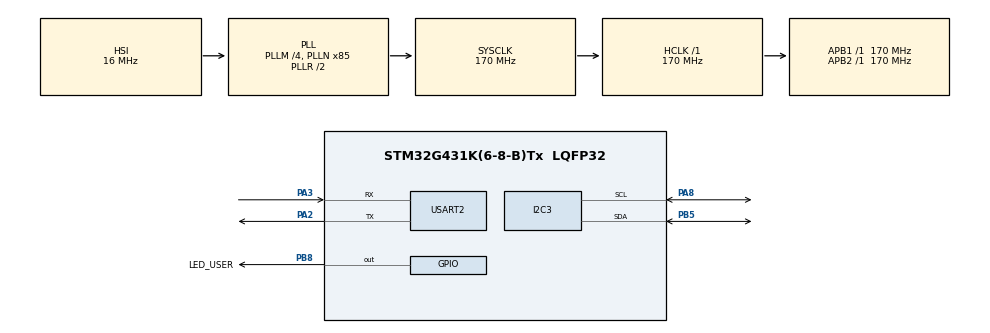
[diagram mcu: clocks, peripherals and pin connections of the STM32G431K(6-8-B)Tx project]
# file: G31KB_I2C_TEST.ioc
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I2C3.Timing=0x40B285C2
Mcu.Family=STM32G4
Mcu.Name=STM32G431K(6-8-B)Tx
Mcu.Package=LQFP32
NVIC.PriorityGroup=NVIC_PRIORITYGROUP_4
PA2.Mode=Asynchronous
PA2.Signal=USART2_TX
PA3.Mode=Asynchronous
PA3.Signal=USART2_RX
PA8.GPIO_Pu=GPIO_PULLUP
PA8.Mode=I2C
PA8.Signal=I2C3_SCL
PB5.GPIO_Pu=GPIO_PULLUP
PB5.Mode=I2C
PB5.Signal=I2C3_SDA
PB8-BOOT0.GPIO_Label=LED_USER
PB8-BOOT0.Signal=GPIO_Output
ProjectManager.HeapSize=0x200
ProjectManager.StackSize=0x400
ProjectManager.TargetToolchain=STM32CubeIDE
RCC.ADC12Freq_Value=170000000
RCC.AHBFreq_Value=170000000
RCC.APB1Freq_Value=170000000
RCC.APB1TimFreq_Value=170000000
RCC.APB2Freq_Value=170000000
RCC.APB2TimFreq_Value=170000000
RCC.CortexFreq_Value=170000000
RCC.EXTERNAL_CLOCK_VALUE=12288000
RCC.HCLKFreq_Value=170000000
RCC.HSE_VALUE=8000000
RCC.HSI48_VALUE=48000000
RCC.HSI_VALUE=16000000
RCC.LSE_VALUE=32768
RCC.PLLM=RCC_PLLM_DIV4
RCC.PLLN=85
RCC.SYSCLKFreq_VALUE=170000000
RCC.SYSCLKSource=RCC_SYSCLKSOURCE_PLLCLK
RCC.USBFreq_Value=170000000
RCC.VCOOutputFreq_Value=340000000
USART2.VirtualMode-Asynchronous=VM_ASYNC
VP_SYS_VS_DBSignals.Mode=DisableDeadBatterySignals
board=NUCLEO-G431KB

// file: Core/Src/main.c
/* USER CODE BEGIN Header */
/**
  ******************************************************************************
  * @file           : main.c
  * @brief          : Main program body
  ******************************************************************************
  * @attention
  *
  * Copyright (c) 2026 STMicroelectronics.
  * All rights reserved.
  *
  * This software is licensed under terms that can be found in the LICENSE file
  * in the root directory of this software component.
  * If no LICENSE file comes with this software, it is provided AS-IS.
  *
  ******************************************************************************
  */
/* USER CODE END Header */
#include "main.h"

/* USER CODE BEGIN Includes */
#include <stdio.h>
/* USER CODE END Includes */

I2C_HandleTypeDef hi2c3;

UART_HandleTypeDef huart2;

/* USER CODE BEGIN PV */
#define BNO055_ADDR         (0x28 << 1) // Dirección del Akizuki (0x50)
#define REG_CHIP_ID         0x00        // Registro ID (Retorna 0xA0)
#define REG_OPR_MODE        0x3D        // Registro de modo de operación
#define REG_EULER_DATA_X    0x1A        // Inicio de registros de datos Euler

// Modos de operación del BNO055
#define MODE_CONFIG         0X00
#define MODE_NDOF           0X0C        // Modo fusión completa de 9 ejes

uint8_t bno_chip_id = 0;
HAL_StatusTypeDef bno_status;
/* USER CODE END PV */

void SystemClock_Config(void);
static void MX_GPIO_Init(void);
static void MX_I2C3_Init(void);
static void MX_USART2_UART_Init(void);

/* USER CODE BEGIN 0 */
#ifdef __GNUC__
#define PUTCHAR_PROTOTYPE int __io_putchar(int ch)
#else
#define PUTCHAR_PROTOTYPE int fputc(int ch, FILE *f)
#endif

PUTCHAR_PROTOTYPE
{
  HAL_UART_Transmit(&huart2, (uint8_t *)&ch, 1, HAL_MAX_DELAY);
  return ch;
}
/* USER CODE END 0 */

int main(void)
{

  /* MCU Configuration--------------------------------------------------------*/

  /* Reset of all peripherals, Initializes the Flash interface and the Systick. */
  HAL_Init();

  /* Configure the system clock */
  SystemClock_Config();

  /* Initialize all configured peripherals */
  MX_GPIO_Init();
  MX_I2C3_Init();
  MX_USART2_UART_Init();
  /* USER CODE BEGIN 2 */
  // 1. Verificar presencia física
    bno_status = HAL_I2C_IsDeviceReady(&hi2c3, BNO055_ADDR, 5, 100);

    if (bno_status == HAL_OK)
    {
        // 2. Leer ID para confirmar autenticidad
        HAL_I2C_Mem_Read(&hi2c3, BNO055_ADDR, REG_CHIP_ID, I2C_MEMADD_SIZE_8BIT, &bno_chip_id, 1, 100);

        if (bno_chip_id == 0xA0)
        {
            printf("\r\n--- ¡Modulo Akizuki BNO055 Detectado con exito! ---\r\n");

            // 3. Configurar el modo de operación a NDOF (Fusión absoluta de 9 ejes)
            uint8_t op_mode = MODE_NDOF;
            HAL_I2C_Mem_Write(&hi2c3, BNO055_ADDR, REG_OPR_MODE, I2C_MEMADD_SIZE_8BIT, &op_mode, 1, 100);

            // El chip requiere un pequeño delay (mínimo 20ms) para cambiar de modo interno
            HAL_Delay(30);

            printf("Sensor inicializado en Modo Fusión (NDOF).\r\n");
            HAL_GPIO_WritePin(LED_USER_GPIO_Port, LED_USER_Pin, GPIO_PIN_SET);
        }
    }
    else
    {
        printf("Error: No se detecta ningun dispositivo en el bus I2C3.\r\n");
    }
  /* USER CODE END 2 */

  /* Infinite loop */
    while (1)
    {

      /* USER CODE BEGIN 3 */
      if (bno_chip_id == 0xA0)
      {
          uint8_t current_mode = 0;
          uint8_t target_mode = MODE_NDOF;

          // Aseguramos que el chip esté en modo fusión (NDOF = 0x0C)
          HAL_I2C_Mem_Read(&hi2c3, BNO055_ADDR, REG_OPR_MODE, I2C_MEMADD_SIZE_8BIT, &current_mode, 1, 100);
          if ((current_mode & 0x0F) != MODE_NDOF)
          {
              HAL_I2C_Mem_Write(&hi2c3, BNO055_ADDR, REG_OPR_MODE, I2C_MEMADD_SIZE_8BIT, &target_mode, 1, 100);
              HAL_Delay(30);
          }

          uint8_t euler_raw[6] = {0}; // Declaramos el arreglo explícitamente con su tamaño
          int16_t raw_yaw = 0, raw_roll = 0, raw_pitch = 0;
          float yaw = 0.0f, roll = 0.0f, pitch = 0.0f;

          // Leemos los 6 bytes consecutivos del sensor
          if (HAL_I2C_Mem_Read(&hi2c3, BNO055_ADDR, REG_EULER_DATA_X, I2C_MEMADD_SIZE_8BIT, euler_raw, 6, 100) == HAL_OK)
          {
              // Reconstrucción matemática estricta usando índices del arreglo
              raw_yaw   = (int16_t)(((uint16_t)euler_raw[1] << 8) | euler_raw[0]);
              raw_roll  = (int16_t)(((uint16_t)euler_raw[3] << 8) | euler_raw[2]);
              raw_pitch = (int16_t)(((uint16_t)euler_raw[5] << 8) | euler_raw[4]);

              // Pasamos el valor crudo a las variables flotantes dividiendo entre 16.0
              yaw   = (float)raw_yaw / 16.0f;
              roll  = (float)raw_roll / 16.0f;
              pitch = (float)raw_pitch / 16.0f;

              // Convertimos a enteros para el formateo de tu printf sin usar %f
              int32_t int_yaw = (int32_t)yaw;
              int32_t dec_yaw = (int32_t)((yaw - (float)int_yaw) * 100.0f);
              if(dec_yaw < 0) dec_yaw = -dec_yaw;

              int32_t int_roll = (int32_t)roll;
              int32_t dec_roll = (int32_t)((roll - (float)int_roll) * 100.0f);
              if(dec_roll < 0) dec_roll = -dec_roll;

              int32_t int_pitch = (int32_t)pitch;
              int32_t dec_pitch = (int32_t)((pitch - (float)int_pitch) * 100.0f);
              if(dec_pitch < 0) dec_pitch = -dec_pitch;

              // Imprimimos por consola
              printf("Yaw: %ld.%02ld | Roll: %ld.%02ld | Pitch: %ld.%02ld\r\n",
                     int_yaw, dec_yaw, int_roll, dec_roll, int_pitch, dec_pitch);
          }
          HAL_Delay(100);
      }
      else
      {
          HAL_GPIO_TogglePin(LED_USER_GPIO_Port, LED_USER_Pin);
          HAL_Delay(200);
      }
    }
    /* USER CODE END 3 */
}

void SystemClock_Config(void)
{
  RCC_OscInitTypeDef RCC_OscInitStruct = {0};
  RCC_ClkInitTypeDef RCC_ClkInitStruct = {0};

  /** Configure the main internal regulator output voltage
  */
  HAL_PWREx_ControlVoltageScaling(PWR_REGULATOR_VOLTAGE_SCALE1_BOOST);

  /** Initializes the RCC Oscillators according to the specified parameters
  * in the RCC_OscInitTypeDef structure.
  */
  RCC_OscInitStruct.OscillatorType = RCC_OSCILLATORTYPE_HSI;
  RCC_OscInitStruct.HSIState = RCC_HSI_ON;
  RCC_OscInitStruct.HSICalibrationValue = RCC_HSICALIBRATION_DEFAULT;
  RCC_OscInitStruct.PLL.PLLState = RCC_PLL_ON;
  RCC_OscInitStruct.PLL.PLLSource = RCC_PLLSOURCE_HSI;
  RCC_OscInitStruct.PLL.PLLM = RCC_PLLM_DIV4;
  RCC_OscInitStruct.PLL.PLLN = 85;
  RCC_OscInitStruct.PLL.PLLP = RCC_PLLP_DIV2;
  RCC_OscInitStruct.PLL.PLLQ = RCC_PLLQ_DIV2;
  RCC_OscInitStruct.PLL.PLLR = RCC_PLLR_DIV2;
  if (HAL_RCC_OscConfig(&RCC_OscInitStruct) != HAL_OK)
  {
    Error_Handler();
  }

  /** Initializes the CPU, AHB and APB buses clocks
  */
  RCC_ClkInitStruct.ClockType = RCC_CLOCKTYPE_HCLK|RCC_CLOCKTYPE_SYSCLK
                              |RCC_CLOCKTYPE_PCLK1|RCC_CLOCKTYPE_PCLK2;
  RCC_ClkInitStruct.SYSCLKSource = RCC_SYSCLKSOURCE_PLLCLK;
  RCC_ClkInitStruct.AHBCLKDivider = RCC_SYSCLK_DIV1;
  RCC_ClkInitStruct.APB1CLKDivider = RCC_HCLK_DIV1;
  RCC_ClkInitStruct.APB2CLKDivider = RCC_HCLK_DIV1;

  if (HAL_RCC_ClockConfig(&RCC_ClkInitStruct, FLASH_LATENCY_4) != HAL_OK)
  {
    Error_Handler();
  }
}

static void MX_I2C3_Init(void)
{

  hi2c3.Instance = I2C3;
  hi2c3.Init.Timing = 0x40B285C2;
  hi2c3.Init.OwnAddress1 = 0;
  hi2c3.Init.AddressingMode = I2C_ADDRESSINGMODE_7BIT;
  hi2c3.Init.DualAddressMode = I2C_DUALADDRESS_DISABLE;
  hi2c3.Init.OwnAddress2 = 0;
  hi2c3.Init.OwnAddress2Masks = I2C_OA2_NOMASK;
  hi2c3.Init.GeneralCallMode = I2C_GENERALCALL_DISABLE;
  hi2c3.Init.NoStretchMode = I2C_NOSTRETCH_DISABLE;
  if (HAL_I2C_Init(&hi2c3) != HAL_OK)
  {
    Error_Handler();
  }

  /** Configure Analogue filter
  */
  if (HAL_I2CEx_ConfigAnalogFilter(&hi2c3, I2C_ANALOGFILTER_ENABLE) != HAL_OK)
  {
    Error_Handler();
  }

  /** Configure Digital filter
  */
  if (HAL_I2CEx_ConfigDigitalFilter(&hi2c3, 0) != HAL_OK)
  {
    Error_Handler();
  }

}

static void MX_USART2_UART_Init(void)
{

  huart2.Instance = USART2;
  huart2.Init.BaudRate = 115200;
  huart2.Init.WordLength = UART_WORDLENGTH_8B;
  huart2.Init.StopBits = UART_STOPBITS_1;
  huart2.Init.Parity = UART_PARITY_NONE;
  huart2.Init.Mode = UART_MODE_TX_RX;
  huart2.Init.HwFlowCtl = UART_HWCONTROL_NONE;
  huart2.Init.OverSampling = UART_OVERSAMPLING_16;
  huart2.Init.OneBitSampling = UART_ONE_BIT_SAMPLE_DISABLE;
  huart2.Init.ClockPrescaler = UART_PRESCALER_DIV1;
  huart2.AdvancedInit.AdvFeatureInit = UART_ADVFEATURE_NO_INIT;
  if (HAL_UART_Init(&huart2) != HAL_OK)
  {
    Error_Handler();
  }
  if (HAL_UARTEx_SetTxFifoThreshold(&huart2, UART_TXFIFO_THRESHOLD_1_8) != HAL_OK)
  {
    Error_Handler();
  }
  if (HAL_UARTEx_SetRxFifoThreshold(&huart2, UART_RXFIFO_THRESHOLD_1_8) != HAL_OK)
  {
    Error_Handler();
  }
  if (HAL_UARTEx_DisableFifoMode(&huart2) != HAL_OK)
  {
    Error_Handler();
  }

}

static void MX_GPIO_Init(void)
{
  GPIO_InitTypeDef GPIO_InitStruct = {0};

  /* GPIO Ports Clock Enable */
  __HAL_RCC_GPIOA_CLK_ENABLE();
  __HAL_RCC_GPIOB_CLK_ENABLE();

  /*Configure GPIO pin Output Level */
  HAL_GPIO_WritePin(LED_USER_GPIO_Port, LED_USER_Pin, GPIO_PIN_RESET);

  /*Configure GPIO pin : LED_USER_Pin */
  GPIO_InitStruct.Pin = LED_USER_Pin;
  GPIO_InitStruct.Mode = GPIO_MODE_OUTPUT_PP;
  GPIO_InitStruct.Pull = GPIO_NOPULL;
  GPIO_InitStruct.Speed = GPIO_SPEED_FREQ_LOW;
  HAL_GPIO_Init(LED_USER_GPIO_Port, &GPIO_InitStruct);

}

void Error_Handler(void)
{
  __disable_irq();
  while (1)
  {
  }
}
